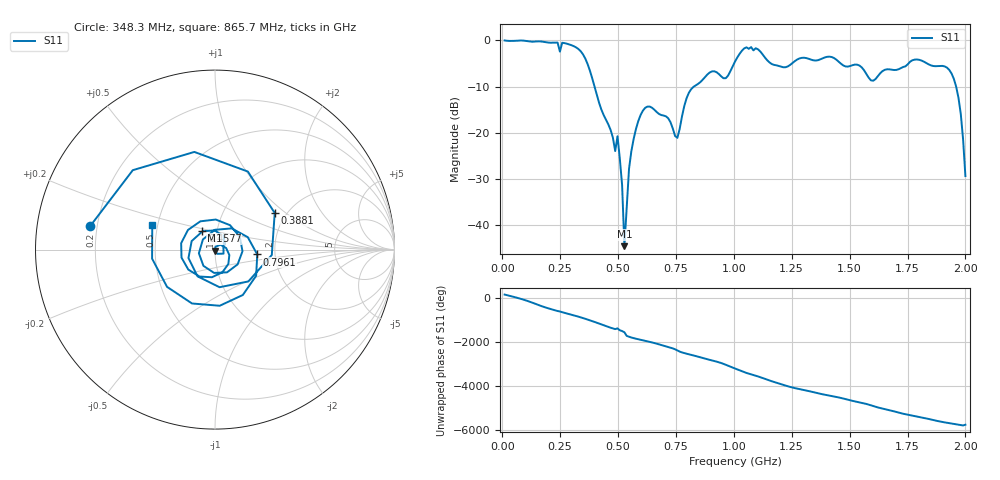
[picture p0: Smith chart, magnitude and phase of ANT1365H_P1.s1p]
!Created with skrf (http://scikit-rf.org).
# Hz S RI R 50.0
!freq ReS11 ImS11
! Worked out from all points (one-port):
!   201 points, 10 MHz to 2 GHz, reference 50 ohm
!   lowest |S11| = -44.6 dB at 527.4 MHz (marker M1), VSWR 1.01, Z = 49.7 - j0.531 ohm
!   |S11| at or under -10 dB: 398.3 MHz to 827.7 MHz (429.5 MHz wide, 70.1 % of centre); 1.96 GHz to end of sweep
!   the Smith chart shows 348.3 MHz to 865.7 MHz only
!   S11 on the Smith chart (normalised r, x): 348.3 MHz: 0.17, +0.09; 388.1 MHz: 1.74, +0.84; 457.8 MHz: 0.85, +0.18; 796 MHz: 1.61, -0.09; 865.7 MHz: 0.47, +0.15
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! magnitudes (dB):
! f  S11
! 10 MHz  0.0
! 248.8 MHz  -2.4
! 258.8 MHz  -0.5
! 348.3 MHz  -3.0
! 388.1 MHz  -8.2
! 457.8 MHz  -18.2
! 487.6 MHz  -24.0
! 497.6 MHz  -20.8
! 507.5 MHz  -25.6
! 517.5 MHz  -31.4
! 527.4 MHz  -44.6
! 547.3 MHz  -27.8
! 597 MHz  -16.2
! 646.8 MHz  -14.6
! 756.2 MHz  -21.1
! 796 MHz  -12.5
! 865.7 MHz  -8.5
! 965.2 MHz  -8.2
! 1.005 GHz  -4.6
! 1.075 GHz  -1.5
! 1.164 GHz  -5.1
! 1.254 GHz  -4.9
! 1.502 GHz  -5.6
! 1.602 GHz  -8.7
! 1.751 GHz  -5.2
! 1.94 GHz  -7.2
! 1.98 GHz  -15.9
! 2 GHz  -29.4
